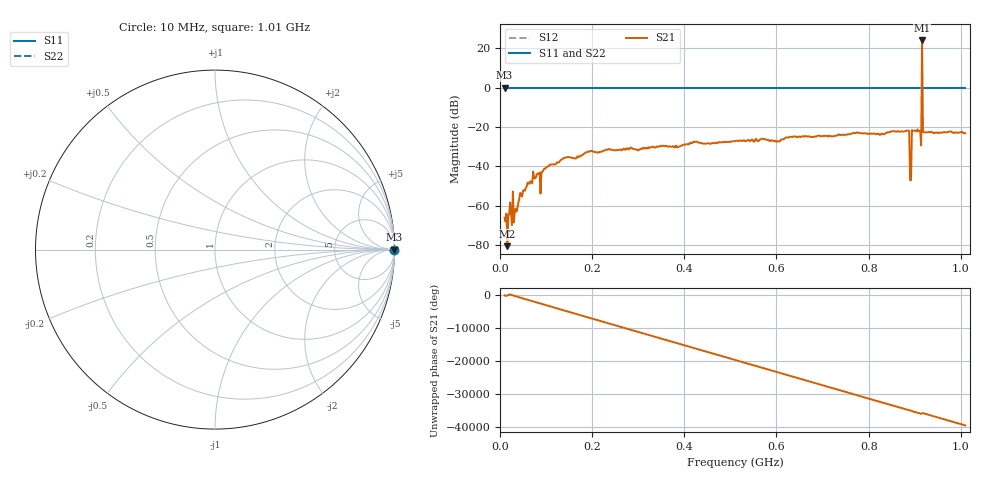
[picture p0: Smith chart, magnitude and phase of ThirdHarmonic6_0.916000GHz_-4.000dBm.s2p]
! 8/16/2025 5:56:35 AM
! C:\ANRITSUVNA\TEMP\TEMP.S2P
! CHANNEL.1
! TR.MEASUREMENT
! RAW.DATA
! RF.CORRECTION.OFF
! AVERAGING.OFF
! IF.BANDWIDTH: 5KHZ
! SWEEPTYPE:  FREQ.SWEEP(Linear)
! Reference Plane Port Info
! PORT:  PORT1  PORT2
! DISTANCE:  0  m  0  m
! TIME:  0  s  0  s
! PHASE.OFFSET:  0  deg.  0  deg.
! LOSS:  0  dB  0  dB
! REF.LOSS:  0  dB  0  dB
! REF.FREQ:  0  Hz  0  Hz
! Power Info
! POWER:  -20  dBm  -20  dBm
! EFF.POWER:  -20  dBm  -20  dBm
! SOURCE.ATTEN:  0  dB  0  dB
! TEST.ATTEN:  0  dB  0  dB
# GHZ S RI R 50.0
! FREQ.GHZ  S11RE  S11IM  S21RE  S21IM  S12RE  S12IM  S22RE  S22IM
!; PortSelection: Port_12
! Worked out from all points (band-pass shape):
!   501 points, 10 MHz to 1.01 GHz, reference 50 ohm
!   highest |S21| = 24.09 dB at 916 MHz (marker M1); lowest = -80.6 dB at 16 MHz (marker M2)
!   |S21| within 3 dB of the highest: 915.8877 MHz to 916.1289 MHz (241.1 kHz wide, 0.0263 % of centre)
!   lowest |S11| = 0.0 dB at 10 MHz (marker M3)
!   |S11| at or under -10 dB: nowhere
!   |S22| runs from 0.0 to 0.0 dB; largest |S21 - S12| = 17
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0.01  1 0  -0.00045 -0.000198  1 0  1 0
0.016  1 0  -8.33e-05 4.1e-05  1 0  1 0
0.024  1 0  0.000577 -0.000259  1 0  1 0
0.034  1 0  -0.000178 -0.000813  1 0  1 0
0.046  1 0  -0.0016 0.00104  1 0  1 0
0.076  1 0  0.00491 0.000193  1 0  1 0
0.14  1 0  0.00468 -0.0157  1 0  1 0
0.178  1 0  -0.0187 -0.00531  1 0  1 0
0.344  1 0  0.0308 -0.00456  1 0  1 0
0.51  1 0  -0.0431 0.00967  1 0  1 0
0.678  1 0  -0.0149 -0.054  1 0  1 0
0.844  1 0  0.0393 0.0624  1 0  1 0
0.884  1 0  -0.0371 -0.0731  1 0  1 0
0.888  1 0  0.0133 0.079  1 0  1 0
0.894  1 0  -0.0799 -0.0241  1 0  1 0
0.898  1 0  0.0648 0.0478  1 0  1 0
0.91  1 0  0.000233 -0.0805  1 0  1 0
0.912  1 0  -0.0774 -0.014  1 0  1 0
0.916  1 0  -11.98 -10.63  1 0  1 0
0.92  1 0  -0.0505 -0.0535  1 0  1 0
0.922  1 0  -0.0616 0.0397  1 0  1 0
1.01  1 0  -0.0632 -0.0281  1 0  1 0
